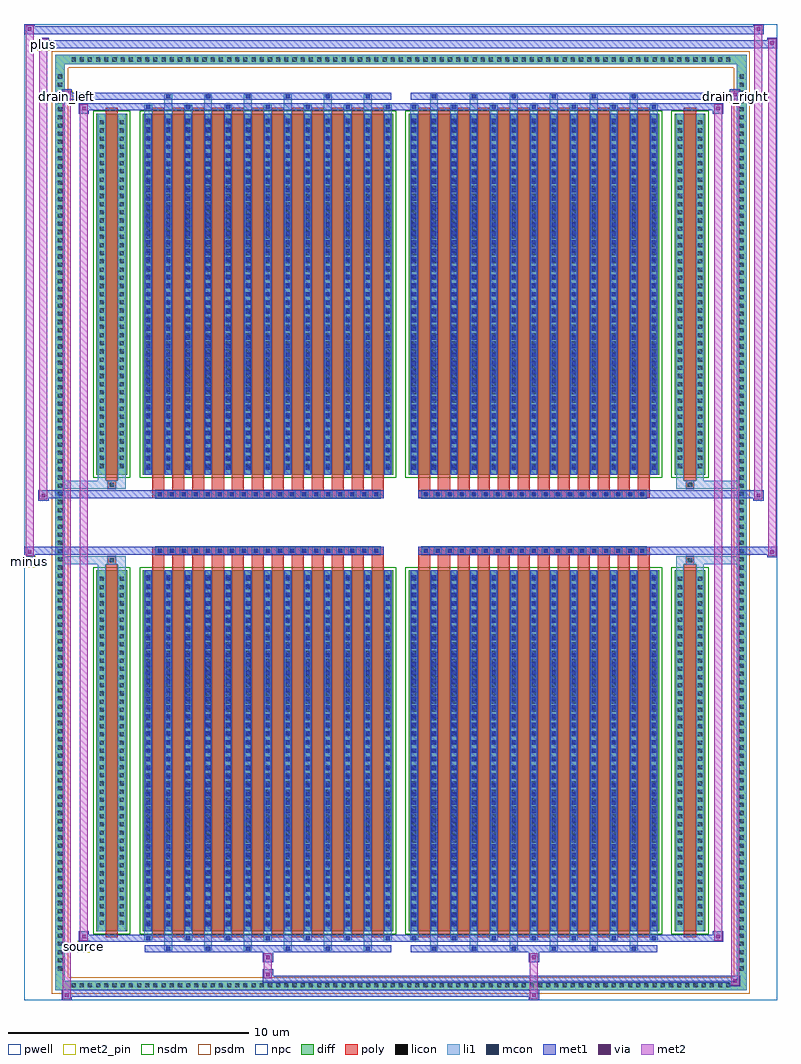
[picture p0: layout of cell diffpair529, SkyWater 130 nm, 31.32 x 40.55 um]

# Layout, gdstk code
import gdstk
lib = gdstk.Library(unit=1e-6, precision=5e-09)
def R(c, l, rs):  # rectangles x0, y0, x1, y1
    for r in rs: c.add(gdstk.rectangle(r[:2], r[2:], *l))
def A(c, l, x, y, w, h, nx, ny, dx, dy):  # array of equal rectangles
    R(c, l, [(x+i*dx, y+j*dy, x+i*dx+w, y+j*dy+h) for i in range(nx) for j in range(ny)])
def P(c, l, *ps):  # polygons
    for p in ps: c.add(gdstk.Polygon(p, *l))
pwell = (64, 44)
diff = (65, 20)
poly = (66, 20)
licon = (66, 44)
li1 = (67, 20)
mcon = (67, 44)
met1 = (68, 20)
via = (68, 44)
met2_pin = (69, 16)
met2 = (69, 20)
nsdm = (93, 44)
psdm = (94, 20)
npc = (95, 20)

diffpair529 = lib.new_cell('diffpair529')
R(diffpair529, pwell, [(-15.64,-19.84,15.64,20.71), (-12.96,-18.03,-0.01,-0.805), (0.01,-18.03,12.96,-0.805), (-12.96,0.805,-0.01,18.03), (0.01,0.805,12.96,18.03)])
A(diffpair529, diff, -13.805, -19.44, 0.41, 0.41, 81, 2, 0.34, 38.47)
A(diffpair529, diff, -14.37, -18.735, 0.41, 0.41, 1, 110, 0, 0.34)
A(diffpair529, diff, 13.96, -18.735, 0.41, 0.41, 1, 110, 0, 0.34)
R(diffpair529, diff, [(-13.805,-19.44,13.805,-19.03), (-14.37,-18.735,-13.96,18.735), (13.96,-18.735,14.37,18.735), (-12.65,-16.985,-11.37,-1.985), (-10.73,-16.985,-0.32,-1.985), (0.32,-16.985,10.73,-1.985), (11.37,-16.985,12.65,-1.985), (-12.65,1.985,-11.37,16.985), (-10.73,1.985,-0.32,16.985), (0.32,1.985,10.73,16.985), (11.37,1.985,12.65,16.985), (-13.805,19.03,13.805,19.44)])
P(diffpair529, diff, [(14.37,19.44),(-14.37,19.44),(-14.37,-19.03),(-13.96,-19.03),(-13.96,19.03),(13.96,19.03),(13.96,-19.03),(-13.96,-19.03),(-14.37,-19.03),(-14.37,-19.44),(14.37,-19.44)])
A(diffpair529, poly, -10.34, -17.235, 0.5, 15.5, 12, 2, 0.83, 18.97)
A(diffpair529, poly, 0.71, -17.235, 0.5, 15.5, 12, 2, 0.83, 18.97)
A(diffpair529, poly, -10.34, -1.735, 0.5, 0.4, 12, 2, 0.83, 3.07)
A(diffpair529, poly, 0.71, -1.735, 0.5, 0.4, 12, 2, 0.83, 3.07)
A(diffpair529, poly, -10.19, -1.335, 0.33, 0.33, 19, 2, 0.5, 2.34)
A(diffpair529, poly, 0.86, -1.335, 0.33, 0.33, 19, 2, 0.5, 2.34)
R(diffpair529, poly, [(-12.26,-17.235,-11.76,-1.735), (11.76,-17.235,12.26,-1.735), (-12.175,-1.735,-11.845,-1.405), (-12.175,-1.735,-11.845,-1.405), (11.845,-1.735,12.175,-1.405), (11.845,-1.735,12.175,-1.405), (-10.34,-1.335,-0.71,-1.005), (0.71,-1.335,10.34,-1.005), (-10.34,1.005,-0.71,1.335), (0.71,1.005,10.34,1.335), (-12.175,1.405,-11.845,1.735), (-12.175,1.405,-11.845,1.735), (11.845,1.405,12.175,1.735), (11.845,1.405,12.175,1.735), (-12.26,1.735,-11.76,17.235), (11.76,1.735,12.26,17.235)])
A(diffpair529, licon, -13.685, -19.32, 0.17, 0.17, 81, 2, 0.34, 38.47)
A(diffpair529, licon, -14.25, -18.615, 0.17, 0.17, 1, 110, 0, 0.34)
A(diffpair529, licon, 14.08, -18.615, 0.17, 0.17, 1, 110, 0, 0.34)
A(diffpair529, licon, -12.51, -16.71, 0.17, 0.17, 1, 43, 0, 0.34)
A(diffpair529, licon, -11.68, -16.71, 0.17, 0.17, 1, 43, 0, 0.34)
A(diffpair529, licon, -10.59, -16.71, 0.17, 0.17, 13, 43, 0.83, 0.34)
A(diffpair529, licon, 0.46, -16.71, 0.17, 0.17, 13, 43, 0.83, 0.34)
A(diffpair529, licon, 11.51, -16.71, 0.17, 0.17, 1, 43, 0, 0.34)
A(diffpair529, licon, 12.34, -16.71, 0.17, 0.17, 1, 43, 0, 0.34)
A(diffpair529, licon, -10.11, -1.255, 0.17, 0.17, 19, 2, 0.5, 2.34)
A(diffpair529, licon, 0.94, -1.255, 0.17, 0.17, 19, 2, 0.5, 2.34)
A(diffpair529, licon, -12.51, 2.26, 0.17, 0.17, 1, 43, 0, 0.34)
A(diffpair529, licon, -11.68, 2.26, 0.17, 0.17, 1, 43, 0, 0.34)
A(diffpair529, licon, -10.59, 2.26, 0.17, 0.17, 13, 43, 0.83, 0.34)
A(diffpair529, licon, 0.46, 2.26, 0.17, 0.17, 13, 43, 0.83, 0.34)
A(diffpair529, licon, 11.51, 2.26, 0.17, 0.17, 1, 43, 0, 0.34)
A(diffpair529, licon, 12.34, 2.26, 0.17, 0.17, 1, 43, 0, 0.34)
R(diffpair529, licon, [(-12.095,-1.655,-11.925,-1.485), (11.925,-1.655,12.095,-1.485), (-12.095,1.485,-11.925,1.655), (11.925,1.485,12.095,1.655)])
A(diffpair529, li1, -13.765, -19.4, 0.33, 0.33, 81, 2, 0.34, 38.47)
A(diffpair529, li1, -14.33, -18.695, 0.33, 0.33, 1, 110, 0, 0.34)
A(diffpair529, li1, 14, -18.695, 0.33, 0.33, 1, 110, 0, 0.34)
A(diffpair529, li1, -9.84, -17.79, 0.33, 0.805, 6, 2, 1.66, 34.775)
A(diffpair529, li1, -9.76, -17.79, 0.17, 0.17, 6, 2, 1.66, 35.41)
A(diffpair529, li1, 1.21, -17.79, 0.33, 0.805, 6, 2, 1.66, 34.775)
A(diffpair529, li1, 1.29, -17.79, 0.17, 0.17, 6, 2, 1.66, 35.41)
A(diffpair529, li1, -10.67, -17.36, 0.33, 0.375, 7, 2, 1.66, 34.345)
A(diffpair529, li1, -10.59, -17.36, 0.17, 0.17, 7, 2, 1.66, 34.55)
A(diffpair529, li1, 0.38, -17.36, 0.33, 0.375, 7, 2, 1.66, 34.345)
A(diffpair529, li1, 0.46, -17.36, 0.17, 0.17, 7, 2, 1.66, 34.55)
A(diffpair529, li1, -10.67, -16.985, 0.33, 15, 13, 2, 0.83, 18.97)
A(diffpair529, li1, 0.38, -16.985, 0.33, 15, 13, 2, 0.83, 18.97)
A(diffpair529, li1, -12.59, -16.79, 0.33, 0.33, 1, 43, 0, 0.34)
A(diffpair529, li1, -11.76, -16.79, 0.33, 0.33, 1, 43, 0, 0.34)
A(diffpair529, li1, -10.67, -16.79, 0.33, 0.33, 13, 43, 0.83, 0.34)
A(diffpair529, li1, 0.38, -16.79, 0.33, 0.33, 13, 43, 0.83, 0.34)
A(diffpair529, li1, 11.43, -16.79, 0.33, 0.33, 1, 43, 0, 0.34)
A(diffpair529, li1, 12.26, -16.79, 0.33, 0.33, 1, 43, 0, 0.34)
A(diffpair529, li1, -10.59, -16.77, 0.17, 0.17, 13, 41, 0.83, 0.36)
A(diffpair529, li1, -10.59, -16.77, 0.17, 14.57, 13, 2, 0.83, 18.97)
A(diffpair529, li1, 0.46, -16.77, 0.17, 0.17, 13, 41, 0.83, 0.36)
A(diffpair529, li1, 0.46, -16.77, 0.17, 14.57, 13, 2, 0.83, 18.97)
A(diffpair529, li1, -10.19, -1.335, 0.33, 0.33, 19, 2, 0.5, 2.34)
A(diffpair529, li1, 0.86, -1.335, 0.33, 0.33, 19, 2, 0.5, 2.34)
A(diffpair529, li1, -12.59, 2.18, 0.33, 0.33, 1, 43, 0, 0.34)
A(diffpair529, li1, -11.76, 2.18, 0.33, 0.33, 1, 43, 0, 0.34)
A(diffpair529, li1, -10.67, 2.18, 0.33, 0.33, 13, 43, 0.83, 0.34)
A(diffpair529, li1, 0.38, 2.18, 0.33, 0.33, 13, 43, 0.83, 0.34)
A(diffpair529, li1, 11.43, 2.18, 0.33, 0.33, 1, 43, 0, 0.34)
A(diffpair529, li1, 12.26, 2.18, 0.33, 0.33, 1, 43, 0, 0.34)
A(diffpair529, li1, -10.59, 2.2, 0.17, 0.17, 13, 41, 0.83, 0.36)
A(diffpair529, li1, 0.46, 2.2, 0.17, 0.17, 13, 41, 0.83, 0.36)
R(diffpair529, li1, [(-14.37,-19.44,-13.96,-19.03), (-14.37,-19.44,-13.96,-19.03), (-13.96,-19.44,13.96,-19.03), (13.96,-19.44,14.37,-19.03), (13.96,-19.44,14.37,-19.03), (-14.37,-19.03,-13.96,19.03), (13.96,-19.03,14.37,19.03), (-12.59,-16.985,-12.26,-1.985), (-11.76,-16.985,-11.43,-1.985), (11.43,-16.985,11.76,-1.985), (12.26,-16.985,12.59,-1.985), (-12.59,-1.985,-12.26,-1.405), (-11.76,-1.985,-11.43,-1.405), (11.43,-1.985,11.76,-1.405), (12.26,-1.985,12.59,-1.405), (-14.37,-1.735,-12.175,-1.405), (-12.59,-1.735,-12.175,-1.405), (-12.175,-1.735,-11.845,-1.405), (-11.845,-1.735,-11.43,-1.405), (11.43,-1.735,11.845,-1.405), (11.845,-1.735,12.175,-1.405), (11.845,-1.735,14.37,-1.405), (12.175,-1.735,12.59,-1.405), (-14.37,1.405,-12.175,1.735), (-12.59,1.405,-12.175,1.735), (-12.59,1.405,-12.26,1.985), (-12.175,1.405,-11.845,1.735), (-11.845,1.405,-11.43,1.735), (-11.76,1.405,-11.43,1.985), (11.43,1.405,11.845,1.735), (11.43,1.405,11.76,1.985), (11.845,1.405,12.175,1.735), (11.845,1.405,14.37,1.735), (12.175,1.405,12.59,1.735), (12.26,1.405,12.59,1.985), (-12.59,1.985,-12.26,16.985), (-11.76,1.985,-11.43,16.985), (11.43,1.985,11.76,16.985), (12.26,1.985,12.59,16.985), (-14.37,19.03,-13.96,19.44), (-14.37,19.03,-13.96,19.44), (-13.96,19.03,13.96,19.44), (13.96,19.03,14.37,19.44), (13.96,19.03,14.37,19.44)])
A(diffpair529, mcon, -9.76, -17.79, 0.17, 0.17, 6, 2, 1.66, 35.41)
A(diffpair529, mcon, 1.29, -17.79, 0.17, 0.17, 6, 2, 1.66, 35.41)
A(diffpair529, mcon, -10.59, -17.36, 0.17, 0.17, 7, 2, 1.66, 34.55)
A(diffpair529, mcon, 0.46, -17.36, 0.17, 0.17, 7, 2, 1.66, 34.55)
A(diffpair529, mcon, -10.59, -16.77, 0.17, 0.17, 13, 41, 0.83, 0.36)
A(diffpair529, mcon, 0.46, -16.77, 0.17, 0.17, 13, 41, 0.83, 0.36)
A(diffpair529, mcon, -10.11, -1.255, 0.17, 0.17, 19, 2, 0.5, 2.34)
A(diffpair529, mcon, 0.94, -1.255, 0.17, 0.17, 19, 2, 0.5, 2.34)
A(diffpair529, mcon, -10.59, 2.2, 0.17, 0.17, 13, 41, 0.83, 0.36)
A(diffpair529, mcon, 0.46, 2.2, 0.17, 0.17, 13, 41, 0.83, 0.36)
A(diffpair529, met1, -9.82, -17.85, 0.29, 0.29, 6, 2, 1.66, 35.41)
A(diffpair529, met1, 1.23, -17.85, 0.29, 0.29, 6, 2, 1.66, 35.41)
A(diffpair529, met1, -10.65, -17.42, 0.29, 0.29, 7, 2, 1.66, 34.55)
A(diffpair529, met1, 0.4, -17.42, 0.29, 0.29, 7, 2, 1.66, 34.55)
A(diffpair529, met1, -10.65, -16.985, 0.29, 15, 13, 2, 0.83, 18.97)
A(diffpair529, met1, 0.4, -16.985, 0.29, 15, 13, 2, 0.83, 18.97)
A(diffpair529, met1, -10.65, -16.83, 0.29, 0.29, 13, 41, 0.83, 0.36)
A(diffpair529, met1, 0.4, -16.83, 0.29, 0.29, 13, 41, 0.83, 0.36)
A(diffpair529, met1, -10.17, -1.315, 0.29, 0.29, 19, 2, 0.5, 2.34)
A(diffpair529, met1, 0.88, -1.315, 0.29, 0.29, 19, 2, 0.5, 2.34)
A(diffpair529, met1, -10.65, 2.14, 0.29, 0.29, 13, 41, 0.83, 0.36)
A(diffpair529, met1, 0.4, 2.14, 0.29, 0.29, 13, 41, 0.83, 0.36)
R(diffpair529, met1, [(-14.1,-19.84,-13.67,-19.41), (5.31,-19.84,5.74,-19.41), (-14.1,-19.7,5.74,-19.41), (13.67,-19.27,14.1,-18.84), (-5.74,-19.13,14.1,-18.84), (-5.74,-18.99,-5.31,-18.56), (-5.74,-18.28,-5.31,-17.85), (5.31,-18.28,5.74,-17.85), (-10.65,-17.85,-0.4,-17.56), (0.4,-17.85,10.65,-17.56), (-13.39,-17.42,-12.96,-16.99), (-13.39,-17.42,-10.65,-17.13), (-10.65,-17.42,-0.4,-17.13), (-0.4,-17.42,0.4,-17.13), (0.4,-17.42,10.65,-17.13), (10.65,-17.42,13.39,-17.13), (12.96,-17.42,13.39,-16.99), (-15.64,-1.435,-15.21,-1.005), (15.21,-1.435,15.64,-1.005), (-15.64,-1.335,-0.71,-1.005), (-10.34,-1.335,-0.71,-1.005), (0.71,-1.335,10.34,-1.005), (0.71,-1.335,15.64,-1.005), (-15.07,0.905,-14.64,1.335), (14.64,0.905,15.07,1.335), (-15.07,1.005,-10.34,1.335), (-10.34,1.005,-0.71,1.335), (0.71,1.005,10.34,1.335), (10.34,1.005,15.07,1.335), (-13.39,16.99,-12.96,17.42), (12.96,16.99,13.39,17.42), (-13.39,17.13,-10.65,17.42), (-10.65,17.13,-0.4,17.42), (-0.4,17.13,0.4,17.42), (0.4,17.13,10.65,17.42), (10.65,17.13,13.39,17.42), (-14.1,17.56,-13.67,17.99), (-14.1,17.56,-10.65,17.85), (-10.65,17.56,-0.4,17.85), (0.4,17.56,10.65,17.85), (10.65,17.56,14.1,17.85), (13.67,17.56,14.1,17.99), (-15.07,19.71,-14.64,20.14), (-15.07,19.71,-12.96,20.04), (-12.96,19.71,12.96,20.04), (12.96,19.71,15.64,20.04), (15.21,19.71,15.64,20.14), (-15.64,20.28,-15.21,20.71), (-15.64,20.28,-12.96,20.61), (-12.96,20.28,12.96,20.61), (12.96,20.28,15.07,20.61), (14.64,20.28,15.07,20.71)])
R(diffpair529, via, [(-13.96,-19.7,-13.81,-19.55), (5.45,-19.7,5.6,-19.55), (13.81,-19.13,13.96,-18.98), (-5.6,-18.85,-5.45,-18.7), (-5.6,-18.14,-5.45,-17.99), (5.45,-18.14,5.6,-17.99), (-13.25,-17.28,-13.1,-17.13), (13.1,-17.28,13.25,-17.13), (-15.5,-1.295,-15.35,-1.145), (15.35,-1.295,15.5,-1.145), (-14.93,1.045,-14.78,1.195), (14.78,1.045,14.93,1.195), (-13.25,17.13,-13.1,17.28), (13.1,17.13,13.25,17.28), (-13.96,17.7,-13.81,17.85), (13.81,17.7,13.96,17.85), (-14.93,19.85,-14.78,20), (15.35,19.85,15.5,20), (-15.5,20.42,-15.35,20.57), (14.78,20.42,14.93,20.57)])
R(diffpair529, met2_pin, [(-13.425,-17.87,-12.925,-17.37), (-15.675,-1.885,-15.175,-1.385), (-14.135,17.44,-13.635,17.94), (13.635,17.44,14.135,17.94), (-15.105,19.59,-14.605,20.09)])
R(diffpair529, met2, [(-14.05,-19.79,-13.72,-19.46), (-14.05,-19.79,-13.72,17.94), (5.36,-19.79,5.69,-19.46), (5.36,-19.46,5.69,-18.23), (13.72,-19.22,14.05,-18.89), (13.72,-19.22,14.05,17.94), (-5.69,-18.94,-5.36,-18.61), (-5.69,-18.61,-5.36,-18.23), (-5.69,-18.23,-5.36,-17.9), (5.36,-18.23,5.69,-17.9), (-13.34,-17.37,-13.01,-17.04), (-13.34,-17.37,-13.01,17.37), (13.01,-17.37,13.34,-17.04), (13.01,-17.37,13.34,17.37), (-15.59,-1.385,-15.26,-1.055), (-15.59,-1.385,-15.26,20.66), (15.26,-1.385,15.59,-1.055), (15.26,-1.385,15.59,20.09), (-15.02,0.955,-14.69,1.285), (-15.02,0.955,-14.69,20.09), (14.69,0.955,15.02,1.285), (14.69,0.955,15.02,20.66), (-13.34,17.04,-13.01,17.37), (13.01,17.04,13.34,17.37), (-14.05,17.61,-13.72,17.94), (13.72,17.61,14.05,17.94), (-15.02,19.76,-14.69,20.09), (15.26,19.76,15.59,20.09), (-15.59,20.33,-15.26,20.66), (14.69,20.33,15.02,20.66)])
P(diffpair529, met2, [(15.59,-1.385),(15.59,-1.385),(15.59,-1.055),(15.59,-1.055)],
  [(15.59,19.76),(15.59,19.76),(15.59,20.09),(15.59,20.09)],
  [(-15.26,-1.385),(-15.26,-1.385),(-15.26,-1.055),(-15.26,-1.055)],
  [(-15.26,20.33),(-15.26,20.33),(-15.26,20.66),(-15.26,20.66)],
  [(15.02,0.955),(15.02,0.955),(15.02,1.285),(15.02,1.285)],
  [(15.02,20.33),(15.02,20.33),(15.02,20.66),(15.02,20.66)],
  [(-14.69,0.955),(-14.69,0.955),(-14.69,1.285),(-14.69,1.285)],
  [(-14.69,19.76),(-14.69,19.76),(-14.69,20.09),(-14.69,20.09)],
  [(-13.72,-19.79),(-13.72,-19.79),(-13.72,-19.46),(-13.72,-19.46)],
  [(-13.72,17.61),(-13.72,17.61),(-13.72,17.94),(-13.72,17.94)],
  [(14.05,-19.22),(14.05,-19.22),(14.05,-18.89),(14.05,-18.89)],
  [(14.05,17.61),(14.05,17.61),(14.05,17.94),(14.05,17.94)],
  [(-13.01,-17.37),(-13.01,-17.37),(-13.01,-17.04),(-13.01,-17.04)],
  [(-13.01,17.04),(-13.01,17.04),(-13.01,17.37),(-13.01,17.37)],
  [(13.34,-17.37),(13.34,-17.37),(13.34,-17.04),(13.34,-17.04)],
  [(13.34,17.04),(13.34,17.04),(13.34,17.37),(13.34,17.37)])
R(diffpair529, nsdm, [(-12.78,-17.115,-11.24,-1.855), (-10.86,-17.115,-0.19,-1.855), (0.19,-17.115,10.86,-1.855), (11.24,-17.115,12.78,-1.855), (-12.78,1.855,-11.24,17.115), (-10.86,1.855,-0.19,17.115), (0.19,1.855,10.86,17.115), (11.24,1.855,12.78,17.115)])
P(diffpair529, psdm, [(14.5,19.57),(-14.5,19.57),(-14.5,-18.9),(-13.83,-18.9),(-13.83,18.9),(13.83,18.9),(13.83,-18.9),(-13.83,-18.9),(-14.5,-18.9),(-14.5,-19.57),(14.5,-19.57)])
A(diffpair529, npc, -10.21, -1.355, 0.37, 0.37, 19, 2, 0.5, 2.34)
A(diffpair529, npc, 0.84, -1.355, 0.37, 0.37, 19, 2, 0.5, 2.34)
R(diffpair529, npc, [(-12.195,-1.755,-11.825,-1.385), (11.825,-1.755,12.195,-1.385), (-10.21,-1.355,-9.34,-0.985), (-10.21,-1.355,-9.34,-0.985), (-9.71,-1.355,-8.84,-0.985), (-9.71,-1.355,-8.84,-0.985), (-9.21,-1.355,-8.34,-0.985), (-9.21,-1.355,-8.34,-0.985), (-8.71,-1.355,-7.84,-0.985), (-8.71,-1.355,-7.84,-0.985), (-8.21,-1.355,-7.34,-0.985), (-8.21,-1.355,-7.34,-0.985), (-7.71,-1.355,-6.84,-0.985), (-7.71,-1.355,-6.84,-0.985), (-7.21,-1.355,-6.34,-0.985), (-7.21,-1.355,-6.34,-0.985), (-6.71,-1.355,-5.84,-0.985), (-6.71,-1.355,-5.84,-0.985), (-6.21,-1.355,-5.34,-0.985), (-6.21,-1.355,-5.34,-0.985), (-5.71,-1.355,-4.84,-0.985), (-5.71,-1.355,-4.84,-0.985), (-5.21,-1.355,-4.34,-0.985), (-5.21,-1.355,-4.34,-0.985), (-4.71,-1.355,-3.84,-0.985), (-4.71,-1.355,-3.84,-0.985), (-4.21,-1.355,-3.34,-0.985), (-4.21,-1.355,-3.34,-0.985), (-3.71,-1.355,-2.84,-0.985), (-3.71,-1.355,-2.84,-0.985), (-3.21,-1.355,-2.34,-0.985), (-3.21,-1.355,-2.34,-0.985), (-2.71,-1.355,-1.84,-0.985), (-2.71,-1.355,-1.84,-0.985), (-2.21,-1.355,-1.34,-0.985), (-2.21,-1.355,-1.34,-0.985), (-1.71,-1.355,-0.84,-0.985), (-1.71,-1.355,-0.84,-0.985), (0.84,-1.355,1.71,-0.985), (0.84,-1.355,1.71,-0.985), (1.34,-1.355,2.21,-0.985), (1.34,-1.355,2.21,-0.985), (1.84,-1.355,2.71,-0.985), (1.84,-1.355,2.71,-0.985), (2.34,-1.355,3.21,-0.985), (2.34,-1.355,3.21,-0.985), (2.84,-1.355,3.71,-0.985), (2.84,-1.355,3.71,-0.985), (3.34,-1.355,4.21,-0.985), (3.34,-1.355,4.21,-0.985), (3.84,-1.355,4.71,-0.985), (3.84,-1.355,4.71,-0.985), (4.34,-1.355,5.21,-0.985), (4.34,-1.355,5.21,-0.985), (4.84,-1.355,5.71,-0.985), (4.84,-1.355,5.71,-0.985), (5.34,-1.355,6.21,-0.985), (5.34,-1.355,6.21,-0.985), (5.84,-1.355,6.71,-0.985), (5.84,-1.355,6.71,-0.985), (6.34,-1.355,7.21,-0.985), (6.34,-1.355,7.21,-0.985), (6.84,-1.355,7.71,-0.985), (6.84,-1.355,7.71,-0.985), (7.34,-1.355,8.21,-0.985), (7.34,-1.355,8.21,-0.985), (7.84,-1.355,8.71,-0.985), (7.84,-1.355,8.71,-0.985), (8.34,-1.355,9.21,-0.985), (8.34,-1.355,9.21,-0.985), (8.84,-1.355,9.71,-0.985), (8.84,-1.355,9.71,-0.985), (9.34,-1.355,10.21,-0.985), (9.34,-1.355,10.21,-0.985), (-10.21,0.985,-9.34,1.355), (-10.21,0.985,-9.34,1.355), (-9.71,0.985,-8.84,1.355), (-9.71,0.985,-8.84,1.355), (-9.21,0.985,-8.34,1.355), (-9.21,0.985,-8.34,1.355), (-8.71,0.985,-7.84,1.355), (-8.71,0.985,-7.84,1.355), (-8.21,0.985,-7.34,1.355), (-8.21,0.985,-7.34,1.355), (-7.71,0.985,-6.84,1.355), (-7.71,0.985,-6.84,1.355), (-7.21,0.985,-6.34,1.355), (-7.21,0.985,-6.34,1.355), (-6.71,0.985,-5.84,1.355), (-6.71,0.985,-5.84,1.355), (-6.21,0.985,-5.34,1.355), (-6.21,0.985,-5.34,1.355), (-5.71,0.985,-4.84,1.355), (-5.71,0.985,-4.84,1.355), (-5.21,0.985,-4.34,1.355), (-5.21,0.985,-4.34,1.355), (-4.71,0.985,-3.84,1.355), (-4.71,0.985,-3.84,1.355), (-4.21,0.985,-3.34,1.355), (-4.21,0.985,-3.34,1.355), (-3.71,0.985,-2.84,1.355), (-3.71,0.985,-2.84,1.355), (-3.21,0.985,-2.34,1.355), (-3.21,0.985,-2.34,1.355), (-2.71,0.985,-1.84,1.355), (-2.71,0.985,-1.84,1.355), (-2.21,0.985,-1.34,1.355), (-2.21,0.985,-1.34,1.355), (-1.71,0.985,-0.84,1.355), (-1.71,0.985,-0.84,1.355), (0.84,0.985,1.71,1.355), (0.84,0.985,1.71,1.355), (1.34,0.985,2.21,1.355), (1.34,0.985,2.21,1.355), (1.84,0.985,2.71,1.355), (1.84,0.985,2.71,1.355), (2.34,0.985,3.21,1.355), (2.34,0.985,3.21,1.355), (2.84,0.985,3.71,1.355), (2.84,0.985,3.71,1.355), (3.34,0.985,4.21,1.355), (3.34,0.985,4.21,1.355), (3.84,0.985,4.71,1.355), (3.84,0.985,4.71,1.355), (4.34,0.985,5.21,1.355), (4.34,0.985,5.21,1.355), (4.84,0.985,5.71,1.355), (4.84,0.985,5.71,1.355), (5.34,0.985,6.21,1.355), (5.34,0.985,6.21,1.355), (5.84,0.985,6.71,1.355), (5.84,0.985,6.71,1.355), (6.34,0.985,7.21,1.355), (6.34,0.985,7.21,1.355), (6.84,0.985,7.71,1.355), (6.84,0.985,7.71,1.355), (7.34,0.985,8.21,1.355), (7.34,0.985,8.21,1.355), (7.84,0.985,8.71,1.355), (7.84,0.985,8.71,1.355), (8.34,0.985,9.21,1.355), (8.34,0.985,9.21,1.355), (8.84,0.985,9.71,1.355), (8.84,0.985,9.71,1.355), (9.34,0.985,10.21,1.355), (9.34,0.985,10.21,1.355), (-12.195,1.385,-11.825,1.755), (11.825,1.385,12.195,1.755)])
diffpair529.add(gdstk.Label('minus', (-15.425,-1.635), layer=69, texttype=5))
diffpair529.add(gdstk.Label('drain_right', (13.885,17.69), layer=69, texttype=5))
diffpair529.add(gdstk.Label('drain_left', (-13.885,17.69), layer=69, texttype=5))
diffpair529.add(gdstk.Label('source', (-13.175,-17.62), layer=69, texttype=5))
diffpair529.add(gdstk.Label('plus', (-14.855,19.84), layer=69, texttype=5))

lib.write_gds('diffpair529.gds')
